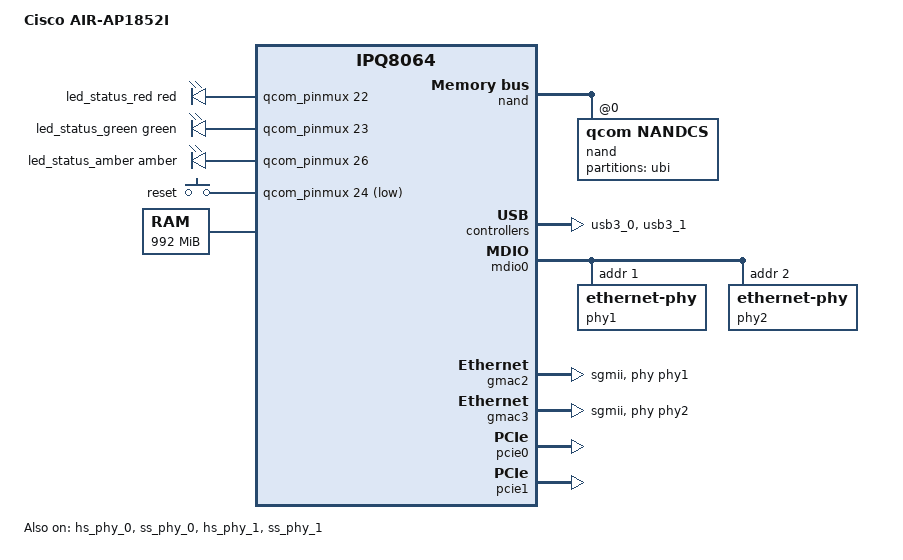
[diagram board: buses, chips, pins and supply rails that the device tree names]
// SPDX-License-Identifier: GPL-2.0-or-later OR MIT
/*
 * Cisco AIR-AP1852I (board "CORSICA", machid 0x1260)
 *
 * IPQ8064, 1 GiB DDR, 256 MiB NAND (Micron MT29F2G08), 4 MiB SPI NOR
 * (Macronix MX25U3235F, holds the Qualcomm/Cisco boot chain), console on
 * GSBI4 UART at 9600 baud, two AR8033 PHYs on GMAC2/GMAC3 via SGMII
 * (MDIO addresses 1 and 2, no switch). Values taken from the stock
 * bootloader's board table and the SMEM partition table.
 *
 * The radios sit on PCIe and are dead on these units, so PCIe stays disabled
 * (as in the dtsi). SPI NOR (boot chain + Cisco env/MFG data) is read-only.
 *
 * LEDs/button: GPIO numbers from Cisco's led_module.ko (board_leddata) and
 * a live read of the TLMM input levels while pressing the button.
 */

#include "qcom-ipq8064-v1.0.dtsi"

#include <dt-bindings/input/input.h>
#include <dt-bindings/leds/common.h>

/ {
	model = "Cisco AIR-AP1852I";
	compatible = "cisco,ap1852", "qcom,ipq8064";

	/*
	 * The v1.0 dtsi describes reference-board LEDs (GPIO 7/8/9/26/53) and
	 * buttons (GPIO 54/65); none of them exist on the AP1852.
	 */
	soc {
		/delete-node/ leds;
		/delete-node/ gpio-keys;
	};

	leds {
		compatible = "gpio-leds";
		pinctrl-0 = <&ap1852_led_pins>;
		pinctrl-names = "default";

		led_status_red: led-0 {
			color = <LED_COLOR_ID_RED>;
			function = LED_FUNCTION_STATUS;
			gpios = <&qcom_pinmux 22 GPIO_ACTIVE_HIGH>;
		};

		led_status_green: led-1 {
			color = <LED_COLOR_ID_GREEN>;
			function = LED_FUNCTION_STATUS;
			gpios = <&qcom_pinmux 23 GPIO_ACTIVE_HIGH>;
			/* lit by the bootloader; keep it on until OpenWrt takes over */
			default-state = "keep";
		};

		led_status_amber: led-2 {
			color = <LED_COLOR_ID_AMBER>;
			function = LED_FUNCTION_STATUS;
			gpios = <&qcom_pinmux 26 GPIO_ACTIVE_HIGH>;
		};
	};

	keys {
		compatible = "gpio-keys";
		pinctrl-0 = <&ap1852_button_pins>;
		pinctrl-names = "default";

		/* front "Mode" button */
		button-reset {
			label = "reset";
			gpios = <&qcom_pinmux 24 GPIO_ACTIVE_LOW>;
			linux,code = <KEY_RESTART>;
			debounce-interval = <60>;
		};
	};

	memory@0 {
		reg = <0x42000000 0x3e000000>;
		device_type = "memory";
	};

	reserved-memory {
		#address-cells = <1>;
		#size-cells = <1>;
		ranges;
		rsvd@41200000 {
			reg = <0x41200000 0x300000>;
			no-map;
		};
	};

	aliases {
		serial0 = &gsbi4_serial;
		mdio-gpio0 = &mdio0;
		ethernet0 = &gmac2;
		ethernet1 = &gmac3;
		led-boot = &led_status_amber;
		led-failsafe = &led_status_red;
		led-running = &led_status_green;
		led-upgrade = &led_status_amber;
	};

	chosen {
		stdout-path = "serial0:9600n8";
	};
};

&adm_dma {
	status = "okay";
};

&flash {
	partitions {
		compatible = "fixed-partitions";
		#address-cells = <1>;
		#size-cells = <1>;

		/* Same layout as the SMEM table; all read-only. */
		partition@0 { label = "0:sbl1"; reg = <0x000000 0x010000>; read-only; };
		partition@10000 { label = "0:mibib"; reg = <0x010000 0x020000>; read-only; };
		partition@30000 { label = "0:sbl2"; reg = <0x030000 0x030000>; read-only; };
		partition@60000 { label = "0:sbl3"; reg = <0x060000 0x030000>; read-only; };
		partition@90000 { label = "0:ddrconfig"; reg = <0x090000 0x010000>; read-only; };
		partition@a0000 { label = "0:tz"; reg = <0x0a0000 0x030000>; read-only; };
		partition@d0000 { label = "0:rpm"; reg = <0x0d0000 0x020000>; read-only; };
		partition@f0000 { label = "0:appsbl"; reg = <0x0f0000 0x070000>; read-only; };
		partition@160000 { label = "0:bootinf"; reg = <0x160000 0x010000>; read-only; };
		partition@170000 { label = "0:appsblenv"; reg = <0x170000 0x010000>; read-only; };
		partition@180000 { label = "0:art"; reg = <0x180000 0x040000>; read-only; };
		partition@1c0000 { label = "0:shareenv"; reg = <0x1c0000 0x010000>; read-only; };
		partition@1d0000 { label = "0:bootalt"; reg = <0x1d0000 0x170000>; read-only; };
		partition@340000 { label = "0:reserved1"; reg = <0x340000 0x070000>; read-only; };
		partition@3b0000 { label = "0:iosdata"; reg = <0x3b0000 0x040000>; read-only; };
		/* Cisco MFG data: serial at 0x2007, base MAC at 0x201a (block of 8) */
		partition@3f0000 {
			label = "0:vendordata";
			reg = <0x3f0000 0x010000>;
			read-only;

			nvmem-layout {
				compatible = "fixed-layout";
				#address-cells = <1>;
				#size-cells = <1>;

				macaddr_vendordata_201a: macaddr@201a {
					compatible = "mac-base";
					reg = <0x201a 0x6>;
					#nvmem-cell-cells = <1>;
				};
			};
		};
	};
};

&nand {
	status = "okay";

	nand@0 {
		reg = <0>;
		compatible = "qcom,nandcs";

		nand-ecc-strength = <4>;
		nand-bus-width = <8>;
		nand-ecc-step-size = <512>;

		partitions {
			compatible = "fixed-partitions";
			#address-cells = <1>;
			#size-cells = <1>;

			/*
			 * Whole NAND is one UBI device shared with the stock firmware:
			 * Cisco keeps its volumes part1/part2, OpenWrt adds kernel,
			 * rootfs, rootfs_data (and owrt_uboot) in the free space.
			 * Never ubiformat this partition (see INSTALL_PLAN.md).
			 */
			partition@0 {
				label = "ubi";
				reg = <0x0 0x10000000>;
			};
		};
	};
};

&hs_phy_0 {
	status = "okay";
};

&ss_phy_0 {
	status = "okay";
};

&usb3_0 {
	status = "okay";
};

&hs_phy_1 {
	status = "okay";
};

&ss_phy_1 {
	status = "okay";
};

&usb3_1 {
	status = "okay";
};

&mdio0 {
	status = "okay";

	pinctrl-0 = <&mdio0_pins>;
	pinctrl-names = "default";

	phy1: ethernet-phy@1 {
		reg = <1>;
	};

	phy2: ethernet-phy@2 {
		reg = <2>;
	};
};

/* PoE / main port (stock U-Boot "Port:2") */
&gmac2 {
	status = "okay";
	phy-mode = "sgmii";
	qcom,id = <2>;
	phy-handle = <&phy1>;

	nvmem-cells = <&macaddr_vendordata_201a 0>;
	nvmem-cell-names = "mac-address";
};

/* AUX port */
&gmac3 {
	status = "okay";
	phy-mode = "sgmii";
	qcom,id = <3>;
	phy-handle = <&phy2>;

	nvmem-cells = <&macaddr_vendordata_201a 1>;
	nvmem-cell-names = "mac-address";
};

/*
 * SMB208 PMIC via RPM, as on AP148 (Cisco's kernel lists smb208_s1a..s6b).
 * Same rails/values as qcom-ipq8064-smb208.dtsi, inlined because that file
 * re-includes qcom-ipq8064.dtsi. Without l2-supply the krait cache-scaling
 * driver fails and L2 stays at 384 MHz, which caps routing at ~300 Mbit/s.
 */
&cpu0 {
	cpu-supply = <&smb208_s2a>;
};

&cpu1 {
	cpu-supply = <&smb208_s2b>;
};

&L2 {
	l2-supply = <&smb208_s1a>;
};

&rpm {
	smb208_regulators: regulators {
		compatible = "qcom,rpm-smb208-regulators";

		smb208_s1a: s1a {
			regulator-min-microvolt = <1050000>;
			regulator-max-microvolt = <1150000>;

			qcom,switch-mode-frequency = <1200000>;
		};

		smb208_s1b: s1b {
			regulator-min-microvolt = <1050000>;
			regulator-max-microvolt = <1150000>;

			qcom,switch-mode-frequency = <1200000>;
		};

		smb208_s2a: s2a {
			regulator-min-microvolt = < 800000>;
			regulator-max-microvolt = <1250000>;

			qcom,switch-mode-frequency = <1200000>;
		};

		smb208_s2b: s2b {
			regulator-min-microvolt = < 800000>;
			regulator-max-microvolt = <1250000>;

			qcom,switch-mode-frequency = <1200000>;
		};
	};
};

&qcom_pinmux {
	ap1852_led_pins: ap1852-led-pins {
		mux {
			pins = "gpio22", "gpio23", "gpio26";
			function = "gpio";
			drive-strength = <8>;
			bias-disable;
		};
	};

	ap1852_button_pins: ap1852-button-pins {
		mux {
			pins = "gpio24";
			function = "gpio";
			drive-strength = <2>;
			bias-pull-up;
		};
	};
};

/*
 * PCIe — the two mini-PCIe radio slots. Base qcom-ipq8064.dtsi defines
 * pcie0@1b500000 and pcie1@1b700000 (disabled); enabling them lets a
 * substitute mini-PCIe Wi-Fi card (e.g. an iwlwifi/ath9k/ath10k card) in a
 * slot enumerate. Harmless on units with no card (link just never comes up).
 */
&pcie0 {
	status = "okay";
};

&pcie1 {
	status = "okay";
	max-link-speed = <1>;
};
